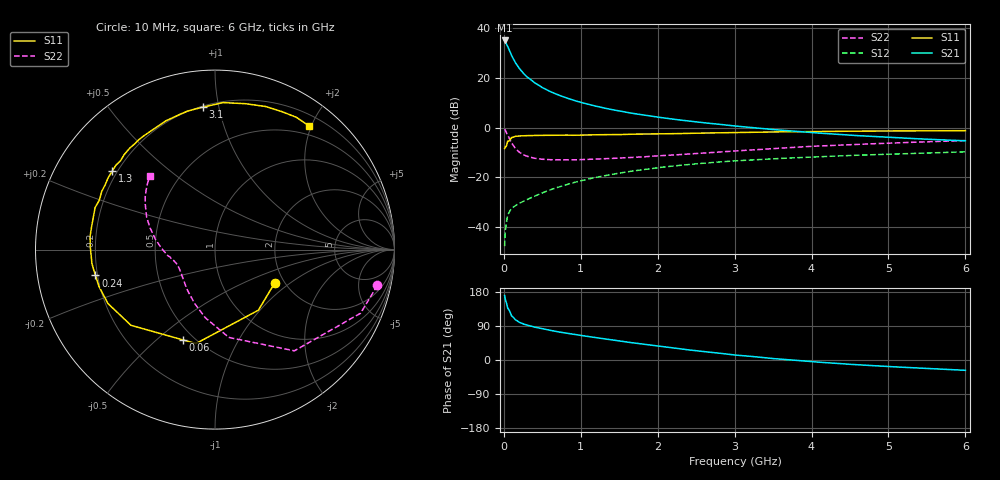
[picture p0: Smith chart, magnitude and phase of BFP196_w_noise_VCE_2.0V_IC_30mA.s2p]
! Infineon Technologies  Discrete & RF Semiconductors
! BFP196
! VCE = 2.0 V,  IC =  30mA
! Common Emitter S-Parameters:  Jan 2016
# GHz  S  MA  R  50
!  f  S11  S21  S12  S22
! GHz  MAG  ANG  MAG  ANG  MAG  ANG  MAG  ANG
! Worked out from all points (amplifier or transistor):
!   210 points, 10 MHz to 6 GHz, reference 50 ohm
!   highest |S21| = 34.9 dB at 10 MHz (marker M1)
!   |S21| within 3 dB of that: start of sweep to 58.96 MHz
!   unconditionally stable (mu >= 1): 542 MHz to 4.42 GHz
!   at 185 MHz: K = 0.60, MSG = 27.5 dB, |S12| = -30.6 dB
!   at 1.52 GHz: K = 1.10, MAG = 10.4 dB, |S12| = -18.2 dB
!   at 6 GHz: K = 0.98, MSG = 2.2 dB, |S12| = -9.7 dB
!   lowest NFmin = 1.40 dB at 500 MHz
!   S11 on the Smith chart (normalised r, x): 10 MHz: 1.78, -0.78; 60 MHz: 0.43, -0.61; 240 MHz: 0.19, -0.10; 1.3 GHz: 0.18, +0.33; 3.1 GHz: 0.21, +0.90; 6 GHz: 0.36, +1.96
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0.01  0.3811 -29.4  55.64 170.2  0.0042 81.6  0.9265 -12.4
0.02  0.4152 -54.4  52.55 159.6  0.0086 74.5  0.8853 -23.6
0.05  0.5343 -101.5  42.27 137.2  0.0177 55.4  0.7167 -51.9
0.06  0.534 -109.6  39.07 134.3  0.0189 53.0  0.6616 -56.1
0.1  0.6302 -138.0  27.8 116.6  0.0241 46.0  0.4951 -81.1
0.15  0.6679 -153.3  19.89 106.1  0.0274 44.1  0.383 -98.2
0.2  0.6783 -162.4  15.4 99.6  0.0302 44.8  0.3225 -110.3
0.24  0.6816 -167.8  12.98 96.2  0.0325 46.0  0.2926 -117.7
0.26  0.6844 -170.1  11.99 94.6  0.0337 46.8  0.2819 -121.1
0.3  0.69 -173.5  10.41 91.9  0.036 48.7  0.2668 -126.5
0.4  0.6948 179.0  7.896 86.8  0.0423 52.4  0.2426 -136.8
0.5  0.7 174.0  6.329 82.5  0.0489 55.1  0.2315 -143.7
0.6  0.6994 169.0  5.28 78.3  0.0563 56.5  0.227 -148.6
0.7  0.7018 164.6  4.552 74.5  0.0633 57.5  0.2254 -152.4
0.82  0.7064 160.0  3.893 70.6  0.0722 57.3  0.2253 -155.8
1.02  0.7094 152.2  3.139 64.3  0.0872 57.2  0.2282 -160.1
1.3  0.7207 142.7  2.471 55.9  0.1082 55.1  0.2367 -164.8
2.02  0.7482 121.4  1.603 36.4  0.1582 46.6  0.2717 -175.0
3.1  0.7963 94.8  1.042 11.6  0.2191 32.0  0.3463 168.1
4.1  0.8323 76.6  0.774 -5.8  0.2605 19.8  0.4272 153.4
5.1  0.8557 63.0  0.626 -18.3  0.2962 8.7  0.493 141.8
6  0.8654 52.8  0.543 -27.2  0.3264 -1.4  0.5483 131.5
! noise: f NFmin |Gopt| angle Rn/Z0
0.5  1.4  0.4  -173  0.08
0.9  1.6  0.5  -166  0.08
1.5  2.4  0.61  -150  0.14
2  2.9  0.71  -129  0.2
